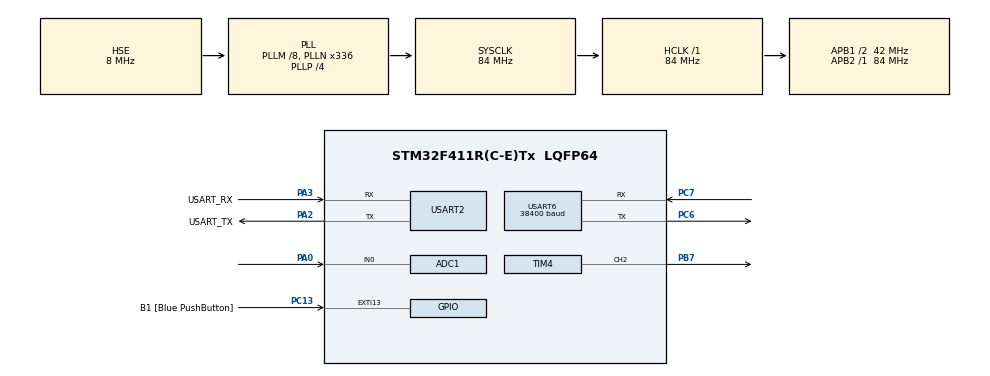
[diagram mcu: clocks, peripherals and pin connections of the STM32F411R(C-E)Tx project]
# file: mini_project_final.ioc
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ADC1.Channel-0\#ChannelRegularConversion=ADC_CHANNEL_0
ADC1.NbrOfConversionFlag=1
ADC1.Rank-0\#ChannelRegularConversion=1
ADC1.SamplingTime-0\#ChannelRegularConversion=ADC_SAMPLETIME_3CYCLES
ADC1.master=1
Mcu.Family=STM32F4
Mcu.Name=STM32F411R(C-E)Tx
Mcu.Package=LQFP64
NVIC.PriorityGroup=NVIC_PRIORITYGROUP_0
NVIC.TIM3_IRQn=true\:0\:0\:false\:false\:true\:true\:true\:true
NVIC.TIM4_IRQn=true\:0\:0\:false\:false\:true\:true\:true\:true
NVIC.USART2_IRQn=true\:0\:0\:false\:false\:true\:true\:true\:true
NVIC.USART6_IRQn=true\:0\:0\:false\:false\:true\:true\:true\:true
PA0-WKUP.Signal=ADCx_IN0
PA13.GPIO_Label=TMS
PA13.Mode=Serial_Wire
PA13.Signal=SYS_JTMS-SWDIO
PA14.GPIO_Label=TCK
PA14.Mode=Serial_Wire
PA14.Signal=SYS_JTCK-SWCLK
PA2.GPIO_Label=USART_TX
PA2.Mode=Asynchronous
PA2.Signal=USART2_TX
PA3.GPIO_Label=USART_RX
PA3.Mode=Asynchronous
PA3.Signal=USART2_RX
PB3.GPIO_Label=SWO
PB3.Signal=SYS_JTDO-SWO
PB7.Signal=S_TIM4_CH2
PC13-ANTI_TAMP.GPIO_Label=B1 [Blue PushButton]
PC13-ANTI_TAMP.GPIO_ModeDefaultEXTI=GPIO_MODE_IT_FALLING
PC13-ANTI_TAMP.Signal=GPXTI13
PC14-OSC32_IN.Signal=RCC_OSC32_IN
PC15-OSC32_OUT.Signal=RCC_OSC32_OUT
PC6.Mode=Asynchronous
PC6.Signal=USART6_TX
PC7.Mode=Asynchronous
PC7.Signal=USART6_RX
PH0\ -\ OSC_IN.Mode=HSE-External-Oscillator
PH0\ -\ OSC_IN.Signal=RCC_OSC_IN
PH1\ -\ OSC_OUT.Mode=HSE-External-Oscillator
PH1\ -\ OSC_OUT.Signal=RCC_OSC_OUT
ProjectManager.HeapSize=0x200
ProjectManager.StackSize=0x400
ProjectManager.TargetToolchain=STM32CubeIDE
RCC.48MHZClocksFreq_Value=84000000
RCC.AHBFreq_Value=84000000
RCC.APB1CLKDivider=RCC_HCLK_DIV2
RCC.APB1Freq_Value=42000000
RCC.APB1TimFreq_Value=84000000
RCC.APB2Freq_Value=84000000
RCC.APB2TimFreq_Value=84000000
RCC.CortexFreq_Value=84000000
RCC.FLatency-AdvancedSettings=FLASH_LATENCY_2
RCC.HCLKFreq_Value=84000000
RCC.HSE_VALUE=8000000
RCC.HSI_VALUE=16000000
RCC.LSE_VALUE=32768
RCC.PLLM=8
RCC.PLLN=336
RCC.PLLP=RCC_PLLP_DIV4
RCC.PLLSourceVirtual=RCC_PLLSOURCE_HSE
RCC.SYSCLKFreq_VALUE=84000000
RCC.SYSCLKSource=RCC_SYSCLKSOURCE_PLLCLK
RCC.VCOOutputFreq_Value=336000000
SH.ADCx_IN0.0=ADC1_IN0,IN0
SH.S_TIM4_CH2.0=TIM4_CH2,PWM Generation2 CH2
TIM3.AutoReloadPreload=TIM_AUTORELOAD_PRELOAD_ENABLE
TIM3.Period=1000-1
TIM3.Prescaler=84-1
TIM4.Channel-PWM\ Generation2\ CH2=TIM_CHANNEL_2
TIM4.Period=20000-1
TIM4.Prescaler=84-1
TIM4.Pulse-PWM\ Generation2\ CH2=500
USART2.VirtualMode=VM_ASYNC
USART6.BaudRate=38400
USART6.VirtualMode=VM_ASYNC
VP_TIM3_VS_ClockSourceINT.Mode=Internal
VP_TIM4_VS_ClockSourceINT.Mode=Internal
board=NUCLEO-F411RE

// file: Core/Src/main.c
/* USER CODE BEGIN Header */
/**
  ******************************************************************************
  * @file           : main.c
  * @brief          : Main program body
  ******************************************************************************
  * @attention
  *
  * Copyright (c) 2024 STMicroelectronics.
  * All rights reserved.
  *
  * This software is licensed under terms that can be found in the LICENSE file
  * in the root directory of this software component.
  * If no LICENSE file comes with this software, it is provided AS-IS.
  *
  ******************************************************************************
  */
/* USER CODE END Header */
#include "main.h"

/* USER CODE BEGIN Includes */
#include <stdio.h>
#include <string.h>
#include <stdlib.h>
#include <math.h>
#include "esp.h"
#include "dht.h"
/* USER CODE END Includes */

/* USER CODE BEGIN PD */
#ifdef __GNUC__
/* With GCC, small printf (option LD Linker->Libraries->Small printf
   set to 'Yes') calls __io_putchar() */
#define PUTCHAR_PROTOTYPE int __io_putchar(int ch)
#else
#define PUTCHAR_PROTOTYPE int fputc(int ch, FILE *f)
#endif /* __GNUC__ */
#define ARR_CNT 5
#define CMD_SIZE 50
#define RL 20000.0       // 부하 저항 (20KΩ), 실제 회로에 맞게 조정
#define VC 5.0           // 공급 전압 (5V)
#define ADC_MAX 4095.0   // 12비트 ADC의 최대값
#define RO 30000.0       // 기본 Ro 값 (깨끗한 공기에서 측정한 센서 저항; 실제 값과 차이가 있을 수 있음)

#define A_CONSTANT 116.6020682
#define B_CONSTANT -2.769034857
/* USER CODE END PD */

ADC_HandleTypeDef hadc1;

TIM_HandleTypeDef htim3;
TIM_HandleTypeDef htim4;

UART_HandleTypeDef huart2;
UART_HandleTypeDef huart6;

/* USER CODE BEGIN PV */
uint8_t rx2char;
extern cb_data_t cb_data;
extern volatile unsigned char rx2Flag;
extern volatile char rx2Data[50];
volatile int tim3Flag1Sec=1;
volatile unsigned int tim3Sec;
volatile uint8_t sensorReadFlag = 0;  // DHT11 센서 읽기 플래그 추가
/* USER CODE END PV */

void SystemClock_Config(void);
static void MX_GPIO_Init(void);
static void MX_USART2_UART_Init(void);
static void MX_USART6_UART_Init(void);
static void MX_TIM3_Init(void);
static void MX_ADC1_Init(void);
static void MX_TIM4_Init(void);
/* USER CODE BEGIN PFP */
char strBuff[MAX_ESP_COMMAND_LEN];
void MX_GPIO_MOTOR_ON(int flag);
void MX_GPIO_MOTOR_OFF(int flag);
void esp_event(char *);
uint16_t readMQ135Value(void);
/* USER CODE END PFP */

int main(void)
{

  /* USER CODE BEGIN 1 */
	int ret = 0;
  /* USER CODE END 1 */

  /* MCU Configuration--------------------------------------------------------*/

  /* Reset of all peripherals, Initializes the Flash interface and the Systick. */
  HAL_Init();

  /* Configure the system clock */
  SystemClock_Config();

  /* Initialize all configured peripherals */
  MX_GPIO_Init();
  MX_USART2_UART_Init();
  MX_USART6_UART_Init();
  MX_TIM3_Init();
  MX_ADC1_Init();
  MX_TIM4_Init();
  /* USER CODE BEGIN 2 */
  printf("Start main() - wifi\r\n");
  ret |= drv_uart_init();
  ret |= drv_esp_init();
  if(ret != 0)
  {
	  printf("Esp response error\r\n");
	  Error_Handler();
  }

  DHT11_Init();
  HAL_TIM_PWM_Start(&htim4,TIM_CHANNEL_2);

//  DHT11_TypeDef dht11Data;
//  char buff[64];

  AiotClient_Init();
  if(HAL_TIM_Base_Start_IT(&htim3) != HAL_OK)
  {
	  Error_Handler();
  }
  /* USER CODE END 2 */

  /* Infinite loop */
  /* USER CODE BEGIN WHILE */
  while (1)
  {
	  // 센서 데이터 읽기 및 전송 추가
	      if(sensorReadFlag)
	      {
	          DHT11_TypeDef dht11Data = DHT11_readData();

	          // 데이터 유효성 확인 (DHT11_TypeDef에 status 필드가 있다고 가정)
	          if(dht11Data.status >= 0) {
	              char buff[64];
	              uint16_t gasValue = readMQ135Value();
	              sprintf(buff,"[%s]SENSOR@%d@%d.%d@%d\n", "ALLMSG", gasValue,
	                              dht11Data.temp_byte1, dht11Data.temp_byte2, dht11Data.rh_byte1);
	              printf("Sending sensor data: %s\r\n", buff);
	              esp_send_data(buff);
	          } else {
	              printf("sensor read error!\r\n");
	          }

	          sensorReadFlag = 0;  // 플래그 초기화
	      }

	      // 기존 코드 - ESP 데이터 처리
	      if(strstr((char *)cb_data.buf,"+IPD") && cb_data.buf[cb_data.length-1] == '\n')
	      {
	          strcpy(strBuff,strchr((char *)cb_data.buf,'['));
	          memset(cb_data.buf,0x0,sizeof(cb_data.buf));
	          cb_data.length = 0;
	          esp_event(strBuff);
	      }

	      // 기존 코드 - UART2 데이터 처리
	      if(rx2Flag)
	      {
	          printf("recv2 : %s\r\n",rx2Data);
	          rx2Flag = 0;
	      }

	      // 기존 코드 - 서버 연결 처리
	      if(tim3Flag1Sec)    //1초에 한번
	      {
	          tim3Flag1Sec = 0;
	          if(!(tim3Sec%10)) //10초에 한번
	          {
	              if(esp_get_status() != 0)
	              {
	                  printf("server connecting ...\r\n");
	                  esp_client_conn();
	              }
	          }
	          // printf("tim3Sec : %d\r\n",tim3Sec);
	      }
    /* USER CODE END WHILE */

  }
}

void SystemClock_Config(void)
{
  RCC_OscInitTypeDef RCC_OscInitStruct = {0};
  RCC_ClkInitTypeDef RCC_ClkInitStruct = {0};

  /** Configure the main internal regulator output voltage
  */
  __HAL_RCC_PWR_CLK_ENABLE();
  __HAL_PWR_VOLTAGESCALING_CONFIG(PWR_REGULATOR_VOLTAGE_SCALE1);

  /** Initializes the RCC Oscillators according to the specified parameters
  * in the RCC_OscInitTypeDef structure.
  */
  RCC_OscInitStruct.OscillatorType = RCC_OSCILLATORTYPE_HSE;
  RCC_OscInitStruct.HSEState = RCC_HSE_ON;
  RCC_OscInitStruct.PLL.PLLState = RCC_PLL_ON;
  RCC_OscInitStruct.PLL.PLLSource = RCC_PLLSOURCE_HSE;
  RCC_OscInitStruct.PLL.PLLM = 8;
  RCC_OscInitStruct.PLL.PLLN = 336;
  RCC_OscInitStruct.PLL.PLLP = RCC_PLLP_DIV4;
  RCC_OscInitStruct.PLL.PLLQ = 4;
  if (HAL_RCC_OscConfig(&RCC_OscInitStruct) != HAL_OK)
  {
    Error_Handler();
  }

  /** Initializes the CPU, AHB and APB buses clocks
  */
  RCC_ClkInitStruct.ClockType = RCC_CLOCKTYPE_HCLK|RCC_CLOCKTYPE_SYSCLK
                              |RCC_CLOCKTYPE_PCLK1|RCC_CLOCKTYPE_PCLK2;
  RCC_ClkInitStruct.SYSCLKSource = RCC_SYSCLKSOURCE_PLLCLK;
  RCC_ClkInitStruct.AHBCLKDivider = RCC_SYSCLK_DIV1;
  RCC_ClkInitStruct.APB1CLKDivider = RCC_HCLK_DIV2;
  RCC_ClkInitStruct.APB2CLKDivider = RCC_HCLK_DIV1;

  if (HAL_RCC_ClockConfig(&RCC_ClkInitStruct, FLASH_LATENCY_2) != HAL_OK)
  {
    Error_Handler();
  }
}

static void MX_ADC1_Init(void)
{

  ADC_ChannelConfTypeDef sConfig = {0};

  /** Configure the global features of the ADC (Clock, Resolution, Data Alignment and number of conversion)
  */
  hadc1.Instance = ADC1;
  hadc1.Init.ClockPrescaler = ADC_CLOCK_SYNC_PCLK_DIV4;
  hadc1.Init.Resolution = ADC_RESOLUTION_12B;
  hadc1.Init.ScanConvMode = DISABLE;
  hadc1.Init.ContinuousConvMode = DISABLE;
  hadc1.Init.DiscontinuousConvMode = DISABLE;
  hadc1.Init.ExternalTrigConvEdge = ADC_EXTERNALTRIGCONVEDGE_NONE;
  hadc1.Init.ExternalTrigConv = ADC_SOFTWARE_START;
  hadc1.Init.DataAlign = ADC_DATAALIGN_RIGHT;
  hadc1.Init.NbrOfConversion = 1;
  hadc1.Init.DMAContinuousRequests = DISABLE;
  hadc1.Init.EOCSelection = ADC_EOC_SINGLE_CONV;
  if (HAL_ADC_Init(&hadc1) != HAL_OK)
  {
    Error_Handler();
  }

  /** Configure for the selected ADC regular channel its corresponding rank in the sequencer and its sample time.
  */
  sConfig.Channel = ADC_CHANNEL_0;
  sConfig.Rank = 1;
  sConfig.SamplingTime = ADC_SAMPLETIME_3CYCLES;
  if (HAL_ADC_ConfigChannel(&hadc1, &sConfig) != HAL_OK)
  {
    Error_Handler();
  }

}

static void MX_TIM3_Init(void)
{

  TIM_ClockConfigTypeDef sClockSourceConfig = {0};
  TIM_MasterConfigTypeDef sMasterConfig = {0};

  htim3.Instance = TIM3;
  htim3.Init.Prescaler = 84-1;
  htim3.Init.CounterMode = TIM_COUNTERMODE_UP;
  htim3.Init.Period = 1000-1;
  htim3.Init.ClockDivision = TIM_CLOCKDIVISION_DIV1;
  htim3.Init.AutoReloadPreload = TIM_AUTORELOAD_PRELOAD_ENABLE;
  if (HAL_TIM_Base_Init(&htim3) != HAL_OK)
  {
    Error_Handler();
  }
  sClockSourceConfig.ClockSource = TIM_CLOCKSOURCE_INTERNAL;
  if (HAL_TIM_ConfigClockSource(&htim3, &sClockSourceConfig) != HAL_OK)
  {
    Error_Handler();
  }
  sMasterConfig.MasterOutputTrigger = TIM_TRGO_RESET;
  sMasterConfig.MasterSlaveMode = TIM_MASTERSLAVEMODE_DISABLE;
  if (HAL_TIMEx_MasterConfigSynchronization(&htim3, &sMasterConfig) != HAL_OK)
  {
    Error_Handler();
  }

}

static void MX_TIM4_Init(void)
{

  TIM_ClockConfigTypeDef sClockSourceConfig = {0};
  TIM_MasterConfigTypeDef sMasterConfig = {0};
  TIM_OC_InitTypeDef sConfigOC = {0};

  htim4.Instance = TIM4;
  htim4.Init.Prescaler = 84-1;
  htim4.Init.CounterMode = TIM_COUNTERMODE_UP;
  htim4.Init.Period = 20000-1;
  htim4.Init.ClockDivision = TIM_CLOCKDIVISION_DIV1;
  htim4.Init.AutoReloadPreload = TIM_AUTORELOAD_PRELOAD_DISABLE;
  if (HAL_TIM_Base_Init(&htim4) != HAL_OK)
  {
    Error_Handler();
  }
  sClockSourceConfig.ClockSource = TIM_CLOCKSOURCE_INTERNAL;
  if (HAL_TIM_ConfigClockSource(&htim4, &sClockSourceConfig) != HAL_OK)
  {
    Error_Handler();
  }
  if (HAL_TIM_PWM_Init(&htim4) != HAL_OK)
  {
    Error_Handler();
  }
  sMasterConfig.MasterOutputTrigger = TIM_TRGO_RESET;
  sMasterConfig.MasterSlaveMode = TIM_MASTERSLAVEMODE_DISABLE;
  if (HAL_TIMEx_MasterConfigSynchronization(&htim4, &sMasterConfig) != HAL_OK)
  {
    Error_Handler();
  }
  sConfigOC.OCMode = TIM_OCMODE_PWM1;
  sConfigOC.Pulse = 500;
  sConfigOC.OCPolarity = TIM_OCPOLARITY_HIGH;
  sConfigOC.OCFastMode = TIM_OCFAST_DISABLE;
  if (HAL_TIM_PWM_ConfigChannel(&htim4, &sConfigOC, TIM_CHANNEL_2) != HAL_OK)
  {
    Error_Handler();
  }
  HAL_TIM_MspPostInit(&htim4);

}

static void MX_USART2_UART_Init(void)
{

  huart2.Instance = USART2;
  huart2.Init.BaudRate = 115200;
  huart2.Init.WordLength = UART_WORDLENGTH_8B;
  huart2.Init.StopBits = UART_STOPBITS_1;
  huart2.Init.Parity = UART_PARITY_NONE;
  huart2.Init.Mode = UART_MODE_TX_RX;
  huart2.Init.HwFlowCtl = UART_HWCONTROL_NONE;
  huart2.Init.OverSampling = UART_OVERSAMPLING_16;
  if (HAL_UART_Init(&huart2) != HAL_OK)
  {
    Error_Handler();
  }

}

static void MX_USART6_UART_Init(void)
{

  huart6.Instance = USART6;
  huart6.Init.BaudRate = 38400;
  huart6.Init.WordLength = UART_WORDLENGTH_8B;
  huart6.Init.StopBits = UART_STOPBITS_1;
  huart6.Init.Parity = UART_PARITY_NONE;
  huart6.Init.Mode = UART_MODE_TX_RX;
  huart6.Init.HwFlowCtl = UART_HWCONTROL_NONE;
  huart6.Init.OverSampling = UART_OVERSAMPLING_16;
  if (HAL_UART_Init(&huart6) != HAL_OK)
  {
    Error_Handler();
  }

}

static void MX_GPIO_Init(void)
{
  GPIO_InitTypeDef GPIO_InitStruct = {0};

  /* GPIO Ports Clock Enable */
  __HAL_RCC_GPIOC_CLK_ENABLE();
  __HAL_RCC_GPIOH_CLK_ENABLE();
  __HAL_RCC_GPIOA_CLK_ENABLE();
  __HAL_RCC_GPIOB_CLK_ENABLE();

  /*Configure GPIO pin : B1_Pin */
  GPIO_InitStruct.Pin = B1_Pin;
  GPIO_InitStruct.Mode = GPIO_MODE_IT_FALLING;
  GPIO_InitStruct.Pull = GPIO_NOPULL;
  HAL_GPIO_Init(B1_GPIO_Port, &GPIO_InitStruct);

}

/* USER CODE BEGIN 4 */
void esp_event(char * recvBuf)
{
  int i=0;
  char * pToken;
  char * pArray[ARR_CNT]={0};
//  char sendBuf[MAX_UART_COMMAND_LEN]={0};

  strBuff[strlen(recvBuf)-1] = '\0';	//'\n' cut
  //printf("\r\nDebug recv : %s\r\n",recvBuf);

  pToken = strtok(recvBuf,"[@]");
  while(pToken != NULL)
  {
    pArray[i] = pToken;
    if(++i >= ARR_CNT)
      break;
    pToken = strtok(NULL,"[@]");
  }

  if(!strcmp(pArray[1],"MOTOR"))
  {
	  if(!strcmp(pArray[2],"OFF"))
	  {
		  __HAL_TIM_SET_COMPARE(&htim4, TIM_CHANNEL_2, 0);;

	  }
	  else if(!strcmp(pArray[2],"1"))
	  {
		  __HAL_TIM_SET_COMPARE(&htim4, TIM_CHANNEL_2, 5000);
	  }
	  else if(!strcmp(pArray[2],"2"))
	  {
		  __HAL_TIM_SET_COMPARE(&htim4, TIM_CHANNEL_2, 10000);
	  }
	  else if(!strcmp(pArray[2],"3"))
	  {
		  __HAL_TIM_SET_COMPARE(&htim4, TIM_CHANNEL_2, 15000);
	  }
	  else if(!strcmp(pArray[2],"ON"))
	  {
		  __HAL_TIM_SET_COMPARE(&htim4, TIM_CHANNEL_2, 19999);
	  }
	  printf("%s status: %s\r\n",pArray[1],pArray[2]);
  }

  else if(!strncmp(pArray[1]," New conn",8))
  {
//	   printf("Debug : %s, %s\r\n",pArray[0],pArray[1]);
     return;
  }
  else if(!strncmp(pArray[1]," Already log",8))
  {
// 	    printf("Debug : %s, %s\r\n",pArray[0],pArray[1]);
	  esp_client_conn();
      return;
  }
  else
      return;

//  esp_send_data(sendBuf);
//  printf("Debug send : %s\r\n",sendBuf);
}

void HAL_TIM_PeriodElapsedCallback(TIM_HandleTypeDef *htim)        //1ms 마다 호출
{
    if(htim->Instance == TIM3) {
        static int tim3Cnt = 0;
        tim3Cnt++;
        if(tim3Cnt >= 1000) //1ms * 1000 = 1Sec
        {
            tim3Flag1Sec = 1;
            tim3Sec++;

            // 30초마다 센서 읽기 플래그 설정
            if(tim3Sec % 30 == 0) {
                sensorReadFlag = 1;
            }

            tim3Cnt = 0;
        }
    }
}

uint16_t readMQ135Value(void) {
    uint32_t adcSum = 0;
    const uint8_t NUM_SAMPLES = 10;

    // 여러 샘플을 읽어 평균값을 계산
    for (uint8_t i = 0; i < NUM_SAMPLES; i++) {
        HAL_ADC_Start(&hadc1);
        if (HAL_ADC_PollForConversion(&hadc1, 100) == HAL_OK) {
            adcSum += HAL_ADC_GetValue(&hadc1);
        }
        HAL_ADC_Stop(&hadc1);
    }
    float avgADC = (float)adcSum / NUM_SAMPLES;

    // ADC 값을 전압으로 변환
    float Vout = (avgADC / ADC_MAX) * VC;

    // 전압 분배기 식을 이용해 센서 저항 Rs 계산
    float Rs = RL * ((VC / Vout) - 1.0);

    // Rs와 Ro의 비율 계산
    float ratio = Rs / RO;

    // 보정 공식 적용
    float ppm = A_CONSTANT * pow(ratio, B_CONSTANT);

    return (uint16_t)ppm;
}
/* USER CODE END 4 */

void Error_Handler(void)
{
  __disable_irq();
  while (1)
  {
  }
}
